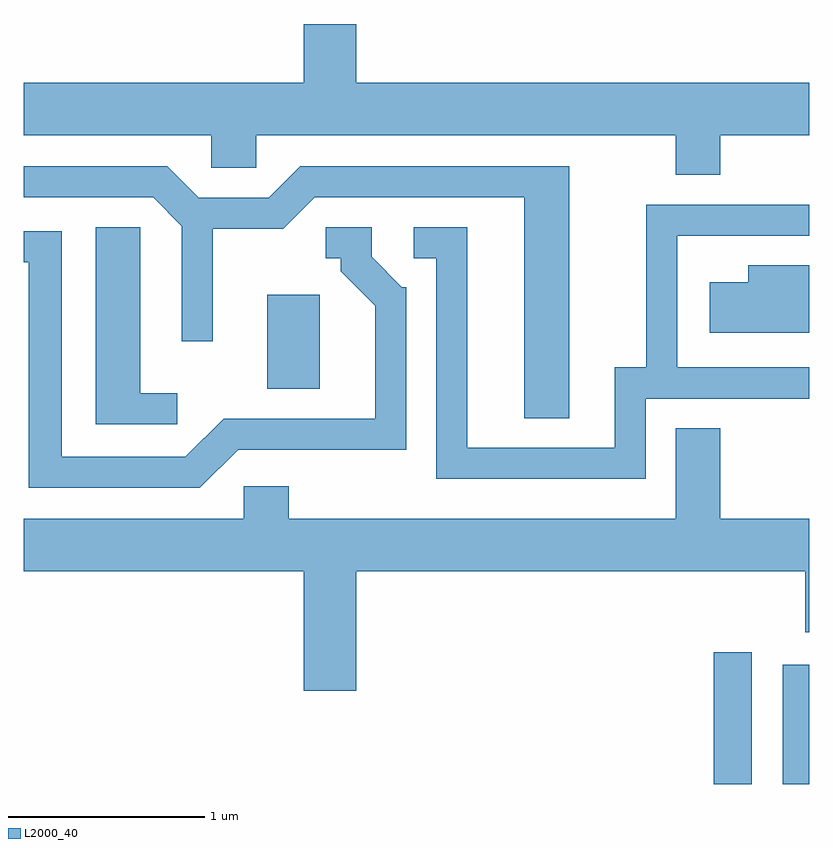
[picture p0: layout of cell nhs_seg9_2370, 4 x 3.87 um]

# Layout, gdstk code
import gdstk
lib = gdstk.Library(unit=1e-6, precision=1e-09)
def R(c, l, rs):  # rectangles x0, y0, x1, y1
    for r in rs: c.add(gdstk.rectangle(r[:2], r[2:], *l))
def P(c, l, *ps):  # polygons
    for p in ps: c.add(gdstk.Polygon(p, *l))
L2000_40 = (2000, 40)

nhs_seg9_2370 = lib.new_cell('nhs_seg9_2370')
R(nhs_seg9_2370, L2000_40, [(257.126,2068.432,257.319,2069.104), (257.476,2068.432,257.611,2069.039), (254.851,2070.446,255.119,2070.924)])
P(nhs_seg9_2370, L2000_40, [(257.159,2071.736),(257.611,2071.736),(257.611,2072.004),(255.304,2072.004),(255.304,2072.304),(255.036,2072.304),(255.036,2072.004),(253.611,2072.004),(253.611,2071.736),(254.566,2071.736),(254.566,2071.571),(254.794,2071.571),(254.794,2071.736),(256.931,2071.736),(256.931,2071.536),(257.159,2071.536)],
  [(256.389,2071.579),(255.019,2071.579),(254.859,2071.419),(254.502,2071.419),(254.342,2071.579),(253.611,2071.579),(253.611,2071.421),(254.269,2071.421),(254.416,2071.274),(254.416,2070.688),(254.574,2070.688),(254.574,2071.261),(254.932,2071.261),(255.092,2071.421),(256.161,2071.421),(256.161,2070.296),(256.389,2070.296)],
  [(256.779,2070.396),(257.611,2070.396),(257.611,2070.554),(256.939,2070.554),(256.939,2071.226),(257.611,2071.226),(257.611,2071.384),(256.781,2071.384),(256.781,2070.554),(256.621,2070.554),(256.621,2070.144),(255.869,2070.144),(255.869,2071.269),(255.598,2071.269),(255.598,2071.111),(255.711,2071.111),(255.711,2069.986),(256.779,2069.986)],
  [(254.702,2070.136),(255.559,2070.136),(255.559,2070.964),(255.537,2070.964),(255.384,2071.117),(255.384,2071.269),(255.148,2071.269),(255.148,2071.111),(255.226,2071.111),(255.226,2071.044),(255.401,2070.869),(255.401,2070.294),(254.629,2070.294),(254.434,2070.099),(253.804,2070.099),(253.804,2071.249),(253.611,2071.249),(253.611,2071.091),(253.636,2071.091),(253.636,2069.941),(254.507,2069.941)],
  [(254.393,2070.424),(254.204,2070.424),(254.204,2071.269),(253.976,2071.269),(253.976,2070.266),(254.393,2070.266)],
  [(257.611,2071.074),(257.301,2071.074),(257.301,2070.989),(257.106,2070.989),(257.106,2070.731),(257.611,2070.731)],
  [(255.304,2069.516),(257.591,2069.516),(257.591,2069.206),(257.611,2069.206),(257.611,2069.784),(257.159,2069.784),(257.159,2070.244),(256.931,2070.244),(256.931,2069.784),(254.959,2069.784),(254.959,2069.949),(254.731,2069.949),(254.731,2069.784),(253.611,2069.784),(253.611,2069.516),(255.036,2069.516),(255.036,2068.906),(255.304,2068.906)])

lib.write_gds('nhs_seg9_2370.gds')
